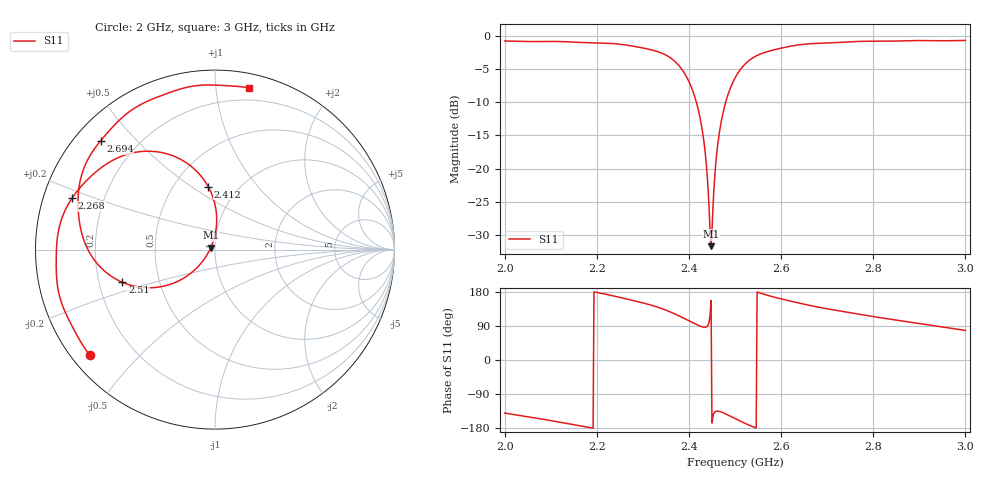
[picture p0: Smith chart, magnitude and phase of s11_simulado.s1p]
! S11 simulado (openEMS) da antena patch_2g45, nominal
! referencia: borda da placa (entrada do SMA)
# Hz S RI R 50
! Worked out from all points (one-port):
!   501 points, 2 GHz to 3 GHz, reference 50 ohm
!   lowest |S11| = -31.7 dB at 2.448 GHz (marker M1), VSWR 1.05, Z = 47.6 + j0.962 ohm
!   |S11| at or under -10 dB: 2.416 GHz to 2.48 GHz (63.67 MHz wide, 2.6 % of centre)
!   S11 on the Smith chart (normalised r, x): 2 GHz: 0.05, -0.36; 2.268 GHz: 0.09, +0.17; 2.412 GHz: 0.73, +0.58; 2.51 GHz: 0.30, -0.16; 2.694 GHz: 0.07, +0.40; 3 GHz: 0.10, +1.23
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2e9  -0.6983 -0.587
2.126e9  -0.8736 -0.226
2.204e9  -0.8808 0.0404
2.25e9  -0.8346 0.2196
2.268e9  -0.7958 0.2875
2.328e9  -0.5958 0.4824
2.376e9  -0.2842 0.5379
2.396e9  -0.1324 0.4635
2.412e9  -0.038 0.351
2.424e9  0.00183 0.2429
2.432e9  0.00955 0.1647
2.438e9  0.00461 0.1054
2.446e9  -0.0164 0.0285
2.448e9  -0.0241 0.0101
2.452e9  -0.0424 -0.0254
2.456e9  -0.0644 -0.0588
2.46e9  -0.0896 -0.0895
2.468e9  -0.1485 -0.142
2.482e9  -0.2701 -0.1997
2.5e9  -0.4336 -0.2069
2.51e9  -0.5154 -0.1825
2.532e9  -0.6515 -0.0837
2.556e9  -0.7286 0.0476
2.626e9  -0.7539 0.3703
2.694e9  -0.6372 0.6064
2.75e9  -0.5133 0.7392
2.876e9  -0.1666 0.9019
3e9  0.191 0.9008
